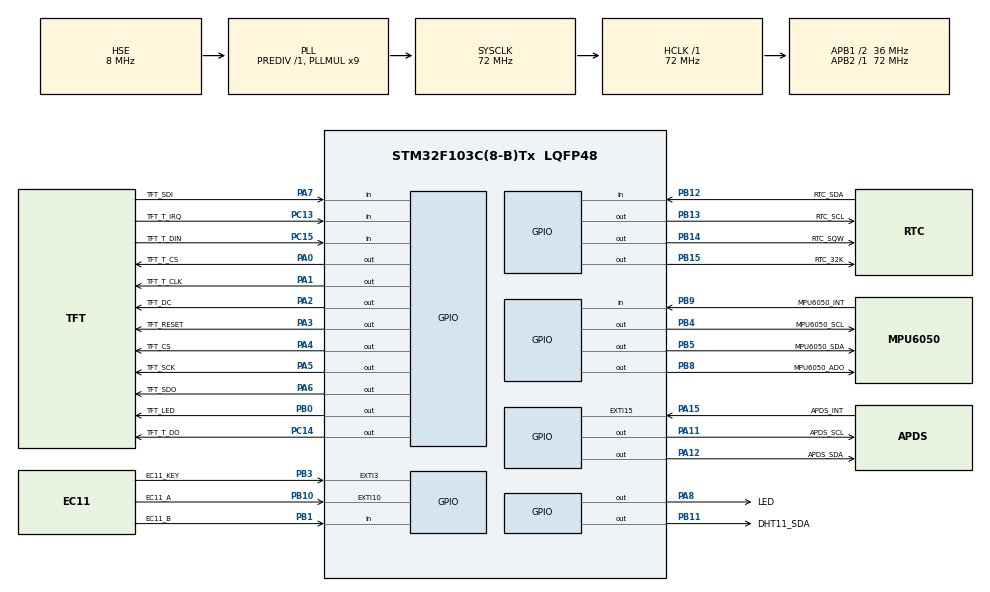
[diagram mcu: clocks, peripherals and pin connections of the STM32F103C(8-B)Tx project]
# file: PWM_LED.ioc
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FREERTOS.Tasks01=Task_Main,1,128,Task_Main_Start,As weak,NULL,Dynamic,NULL,NULL;LED_PWM_Task,-3,128,LED_PWM_Task_Start,As weak,NULL,Dynamic,NULL,NULL;LED_Flash_Task,-3,128,LED_Flash_Task_Start,As weak,NULL,Dynamic,NULL,NULL;RTC_GetTime,0,128,RTC_GetTime_Start,As weak,NULL,Dynamic,NULL,NULL;APDS_Trigger,0,128,APDS_GetData_Start,As weak,NULL,Dynamic,NULL,NULL;DHT11_GetData,0,128,DHT11_DetData_Start,As weak,NULL,Dynamic,NULL,NULL;MPU6050_Get,0,128,MPU6050_GetData_Start,As weak,NULL,Dynamic,NULL,NULL;TFT_Display,-3,1024,TFT_DisplayAndShow,As weak,NULL,Dynamic,NULL,NULL
FREERTOS.configTOTAL_HEAP_SIZE=10000
Mcu.Family=STM32F1
Mcu.Name=STM32F103C(8-B)Tx
Mcu.Package=LQFP48
NVIC.EXTI15_10_IRQn=true\:5\:0\:false\:false\:true\:true\:true\:true
NVIC.EXTI3_IRQn=true\:5\:0\:false\:false\:true\:true\:true\:true
NVIC.PriorityGroup=NVIC_PRIORITYGROUP_4
NVIC.TIM4_IRQn=true\:0\:0\:false\:false\:true\:false\:false\:true
NVIC.TimeBase=TIM4_IRQn
NVIC.TimeBaseIP=TIM4
PA0-WKUP.GPIO_Label=TFT_T_CS
PA0-WKUP.Signal=GPIO_Output
PA1.GPIO_Label=TFT_T_CLK
PA1.Signal=GPIO_Output
PA11.GPIO_Label=APDS_SCL
PA11.Signal=GPIO_Output
PA12.GPIO_Label=APDS_SDA
PA12.Signal=GPIO_Output
PA13.Mode=Serial_Wire
PA13.Signal=SYS_JTMS-SWDIO
PA14.Mode=Serial_Wire
PA14.Signal=SYS_JTCK-SWCLK
PA15.GPIO_Label=APDS_INT
PA15.GPIO_ModeDefaultEXTI=GPIO_MODE_IT_FALLING
PA15.GPIO_PuPd=GPIO_NOPULL
PA15.Signal=GPXTI15
PA2.GPIO_Label=TFT_DC
PA2.Signal=GPIO_Output
PA3.GPIO_Label=TFT_RESET
PA3.Signal=GPIO_Output
PA4.GPIO_Label=TFT_CS
PA4.Signal=GPIO_Output
PA5.GPIO_Label=TFT_SCK
PA5.Signal=GPIO_Output
PA6.GPIO_Label=TFT_SDO
PA6.Signal=GPIO_Output
PA7.GPIO_Label=TFT_SDI
PA7.Signal=GPIO_Input
PA8.GPIO_Label=LED
PA8.Signal=GPIO_Output
PB0.GPIO_Label=TFT_LED
PB0.PinState=GPIO_PIN_SET
PB0.Signal=GPIO_Output
PB1.GPIO_Label=EC11_B
PB1.Signal=GPIO_Input
PB10.GPIO_Label=EC11_A
PB10.GPIO_ModeDefaultEXTI=GPIO_MODE_IT_FALLING
PB10.Signal=GPXTI10
PB11.GPIO_Label=DHT11_SDA
PB11.Signal=GPIO_Output
PB12.GPIO_Label=RTC_SDA
PB12.Signal=GPIO_Input
PB13.GPIO_Label=RTC_SCL
PB13.Signal=GPIO_Output
PB14.GPIO_Label=RTC_SQW
PB14.Signal=GPIO_Output
PB15.GPIO_Label=RTC_32K
PB15.Signal=GPIO_Output
PB3.GPIO_Label=EC11_KEY
PB3.GPIO_ModeDefaultEXTI=GPIO_MODE_IT_FALLING
PB3.Signal=GPXTI3
PB4.GPIO_Label=MPU6050_SCL
PB4.Signal=GPIO_Output
PB5.GPIO_Label=MPU6050_SDA
PB5.Signal=GPIO_Output
PB8.GPIO_Label=MPU6050_ADO
PB8.Signal=GPIO_Output
PB9.GPIO_Label=MPU6050_INT
PB9.Signal=GPIO_Input
PC13-TAMPER-RTC.GPIO_Label=TFT_T_IRQ
PC13-TAMPER-RTC.Signal=GPIO_Input
PC14-OSC32_IN.GPIO_Label=TFT_T_DO
PC14-OSC32_IN.Signal=GPIO_Output
PC15-OSC32_OUT.GPIO_Label=TFT_T_DIN
PC15-OSC32_OUT.Signal=GPIO_Input
PD0-OSC_IN.Mode=HSE-External-Oscillator
PD0-OSC_IN.Signal=RCC_OSC_IN
PD1-OSC_OUT.Mode=HSE-External-Oscillator
PD1-OSC_OUT.Signal=RCC_OSC_OUT
ProjectManager.HeapSize=0x200
ProjectManager.StackSize=0x400
ProjectManager.TargetToolchain=MDK-ARM V5
RCC.AHBFreq_Value=72000000
RCC.APB1CLKDivider=RCC_HCLK_DIV2
RCC.APB1Freq_Value=36000000
RCC.APB1TimFreq_Value=72000000
RCC.APB2Freq_Value=72000000
RCC.APB2TimFreq_Value=72000000
RCC.HCLKFreq_Value=72000000
RCC.PLLMUL=RCC_PLL_MUL9
RCC.PLLSourceVirtual=RCC_PLLSOURCE_HSE
RCC.SYSCLKFreq_VALUE=72000000
RCC.SYSCLKSource=RCC_SYSCLKSOURCE_PLLCLK
RCC.USBFreq_Value=72000000
VP_FREERTOS_VS_CMSIS_V1.Mode=CMSIS_V1
VP_SYS_VS_tim4.Mode=TIM4
board=custom

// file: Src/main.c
/* USER CODE BEGIN Header */
/**
  ******************************************************************************
  * @file           : main.c
  * @brief          : Main program body
  ******************************************************************************
  * @attention
  *
  * <h2><center>&copy; Copyright (c) 2020 STMicroelectronics.
  * All rights reserved.</center></h2>
  *
  * This software component is licensed by ST under Ultimate Liberty license
  * SLA0044, the "License"; You may not use this file except in compliance with
  * the License. You may obtain a copy of the License at:
  *                             www.st.com/SLA0044
  *
  ******************************************************************************
  */
/* USER CODE END Header */

#include "main.h"
#include "cmsis_os.h"

/* USER CODE BEGIN Includes */
#include "math.h"
#include "list.h"
/* USER CODE END Includes */

/* USER CODE BEGIN PD */
uint8_t Count_PWM_Times = 0;
uint8_t Count_Flash_Times = 0;

/* USER CODE END PD */

osThreadId Task_MainHandle;
osThreadId LED_PWM_TaskHandle;
osThreadId LED_Flash_TaskHandle;
osThreadId RTC_GetTimeHandle;
osThreadId APDS_TriggerHandle;
osThreadId DHT11_GetDataHandle;
osThreadId MPU6050_GetHandle;
osThreadId TFT_DisplayHandle;
/* USER CODE BEGIN PV */
double brightNess ;
QueueHandle_t Test_Queue = NULL;

SemaphoreHandle_t BinarySemaphore_Handle = NULL;
struct xLIST List_Test ;        //创建链表的根节点

struct xLIST_ITEM List_Item1;   //创建链表的节
struct xLIST_ITEM List_Item2;   //创建链表的节
struct xLIST_ITEM List_Item3;   //创建链表的节

#define QUEUE_Len 		4
#define QUEUE_Size		4

uint8_t ID,MPU_State,DHT11_State ;

float pitch,roll,yaw;     //欧拉�?
short aacx,aacy,aacz;     //加�?�度传感器原始数�?
short gyrox,gyroy,gyroz;	//�?螺仪原始数据
short temp;               //温度

/* USER CODE END PV */

void SystemClock_Config(void);
static void MX_GPIO_Init(void);
void Task_Main_Start(void const * argument);
void LED_PWM_Task_Start(void const * argument);
void LED_Flash_Task_Start(void const * argument);
void RTC_GetTime_Start(void const * argument);
void APDS_GetData_Start(void const * argument);
void DHT11_DetData_Start(void const * argument);
void MPU6050_GetData_Start(void const * argument);
void TFT_DisplayAndShow(void const * argument);

int main(void)
{

  /* MCU Configuration--------------------------------------------------------*/

  /* Reset of all peripherals, Initializes the Flash interface and the Systick. */
  HAL_Init();

  /* Configure the system clock */
  SystemClock_Config();

  /* Initialize all configured peripherals */
  MX_GPIO_Init();
  /* USER CODE BEGIN 2 */
  ModifyTime(0x11,0x11,0x11,0x11,0x11,0x11);
  //链表根节点初始化
  vListInitialise( &List_Test );

	//链表初�??
  vListInitialiseItem( & List_Item1 );
  List_Item1.xItemValue = 1;

	vListInitialiseItem( & List_Item2 );
  List_Item2.xItemValue = 2;

	vListInitialiseItem( & List_Item3 );
  List_Item3.xItemValue = 3;

	vListInsert( &List_Test , &List_Item1 );
	vListInsert( &List_Test , &List_Item2 );
	vListInsert( &List_Test , &List_Item3 );

	Test_Queue = xQueueCreate((UBaseType_t)QUEUE_Len,
														(UBaseType_t)QUEUE_Size);

  ID = APDS9960_Get_ID() ;
    if(ID == 0xab)
    {
//      if (APDS9960_Init())
//      {
//        APDS9960_Gesture_EN(1);
//      }
    }
    //初始化MPU6050
//  while (MPU_Init()){ ; }

  temp = MPU_Get_Temperature();
  //等待初始化DMP单元
  //while(mpu_dmp_init())
 	//{
	//	;
	//}

  /* USER CODE END 2 */

  /* USER CODE BEGIN RTOS_SEMAPHORES */
  /* add semaphores, ... */
  BinarySemaphore_Handle = xSemaphoreCreateBinary();
  /* USER CODE END RTOS_SEMAPHORES */

  /* Create the thread(s) */
  /* definition and creation of Task_Main */
  osThreadDef(Task_Main, Task_Main_Start, osPriorityAboveNormal, 0, 128);
  Task_MainHandle = osThreadCreate(osThread(Task_Main), NULL);

  /* definition and creation of LED_PWM_Task */
  osThreadDef(LED_PWM_Task, LED_PWM_Task_Start, osPriorityIdle, 0, 128);
  LED_PWM_TaskHandle = osThreadCreate(osThread(LED_PWM_Task), NULL);

  /* definition and creation of LED_Flash_Task */
  osThreadDef(LED_Flash_Task, LED_Flash_Task_Start, osPriorityIdle, 0, 128);
  LED_Flash_TaskHandle = osThreadCreate(osThread(LED_Flash_Task), NULL);

  /* definition and creation of RTC_GetTime */
  osThreadDef(RTC_GetTime, RTC_GetTime_Start, osPriorityNormal, 0, 128);
  RTC_GetTimeHandle = osThreadCreate(osThread(RTC_GetTime), NULL);

  /* definition and creation of APDS_Trigger */
  osThreadDef(APDS_Trigger, APDS_GetData_Start, osPriorityNormal, 0, 128);
  APDS_TriggerHandle = osThreadCreate(osThread(APDS_Trigger), NULL);

  /* definition and creation of DHT11_GetData */
  osThreadDef(DHT11_GetData, DHT11_DetData_Start, osPriorityNormal, 0, 128);
  DHT11_GetDataHandle = osThreadCreate(osThread(DHT11_GetData), NULL);

  /* definition and creation of MPU6050_Get */
  osThreadDef(MPU6050_Get, MPU6050_GetData_Start, osPriorityNormal, 0, 128);
  MPU6050_GetHandle = osThreadCreate(osThread(MPU6050_Get), NULL);

  /* definition and creation of TFT_Display */
  osThreadDef(TFT_Display, TFT_DisplayAndShow, osPriorityIdle, 0, 1024);
  TFT_DisplayHandle = osThreadCreate(osThread(TFT_Display), NULL);

  /* Start scheduler */
  osKernelStart();

  /* We should never get here as control is now taken by the scheduler */

  /* Infinite loop */
  while (1)
  {

  }
}

void SystemClock_Config(void)
{
  RCC_OscInitTypeDef RCC_OscInitStruct = {0};
  RCC_ClkInitTypeDef RCC_ClkInitStruct = {0};

  /** Initializes the CPU, AHB and APB busses clocks
  */
  RCC_OscInitStruct.OscillatorType = RCC_OSCILLATORTYPE_HSE;
  RCC_OscInitStruct.HSEState = RCC_HSE_ON;
  RCC_OscInitStruct.HSEPredivValue = RCC_HSE_PREDIV_DIV1;
  RCC_OscInitStruct.HSIState = RCC_HSI_ON;
  RCC_OscInitStruct.PLL.PLLState = RCC_PLL_ON;
  RCC_OscInitStruct.PLL.PLLSource = RCC_PLLSOURCE_HSE;
  RCC_OscInitStruct.PLL.PLLMUL = RCC_PLL_MUL9;
  if (HAL_RCC_OscConfig(&RCC_OscInitStruct) != HAL_OK)
  {
    Error_Handler();
  }
  /** Initializes the CPU, AHB and APB busses clocks
  */
  RCC_ClkInitStruct.ClockType = RCC_CLOCKTYPE_HCLK|RCC_CLOCKTYPE_SYSCLK
                              |RCC_CLOCKTYPE_PCLK1|RCC_CLOCKTYPE_PCLK2;
  RCC_ClkInitStruct.SYSCLKSource = RCC_SYSCLKSOURCE_PLLCLK;
  RCC_ClkInitStruct.AHBCLKDivider = RCC_SYSCLK_DIV1;
  RCC_ClkInitStruct.APB1CLKDivider = RCC_HCLK_DIV2;
  RCC_ClkInitStruct.APB2CLKDivider = RCC_HCLK_DIV1;

  if (HAL_RCC_ClockConfig(&RCC_ClkInitStruct, FLASH_LATENCY_2) != HAL_OK)
  {
    Error_Handler();
  }
}

static void MX_GPIO_Init(void)
{
  GPIO_InitTypeDef GPIO_InitStruct = {0};

  /* GPIO Ports Clock Enable */
  __HAL_RCC_GPIOC_CLK_ENABLE();
  __HAL_RCC_GPIOD_CLK_ENABLE();
  __HAL_RCC_GPIOA_CLK_ENABLE();
  __HAL_RCC_GPIOB_CLK_ENABLE();

  /*Configure GPIO pin Output Level */
  HAL_GPIO_WritePin(TFT_T_DO_GPIO_Port, TFT_T_DO_Pin, GPIO_PIN_RESET);

  /*Configure GPIO pin Output Level */
  HAL_GPIO_WritePin(GPIOA, TFT_T_CS_Pin|TFT_T_CLK_Pin|TFT_DC_Pin|TFT_RESET_Pin
                          |TFT_CS_Pin|TFT_SCK_Pin|TFT_SDO_Pin|LED_Pin
                          |APDS_SCL_Pin|APDS_SDA_Pin, GPIO_PIN_RESET);

  /*Configure GPIO pin Output Level */
  HAL_GPIO_WritePin(TFT_LED_GPIO_Port, TFT_LED_Pin, GPIO_PIN_SET);

  /*Configure GPIO pin Output Level */
  HAL_GPIO_WritePin(GPIOB, DHT11_SDA_Pin|RTC_SCL_Pin|RTC_SQW_Pin|RTC_32K_Pin
                          |MPU6050_SCL_Pin|MPU6050_SDA_Pin|MPU6050_ADO_Pin, GPIO_PIN_RESET);

  /*Configure GPIO pins : TFT_T_IRQ_Pin TFT_T_DIN_Pin */
  GPIO_InitStruct.Pin = TFT_T_IRQ_Pin|TFT_T_DIN_Pin;
  GPIO_InitStruct.Mode = GPIO_MODE_INPUT;
  GPIO_InitStruct.Pull = GPIO_NOPULL;
  HAL_GPIO_Init(GPIOC, &GPIO_InitStruct);

  /*Configure GPIO pin : TFT_T_DO_Pin */
  GPIO_InitStruct.Pin = TFT_T_DO_Pin;
  GPIO_InitStruct.Mode = GPIO_MODE_OUTPUT_PP;
  GPIO_InitStruct.Pull = GPIO_NOPULL;
  GPIO_InitStruct.Speed = GPIO_SPEED_FREQ_LOW;
  HAL_GPIO_Init(TFT_T_DO_GPIO_Port, &GPIO_InitStruct);

  /*Configure GPIO pins : TFT_T_CS_Pin TFT_T_CLK_Pin TFT_DC_Pin TFT_RESET_Pin
                           TFT_CS_Pin TFT_SCK_Pin TFT_SDO_Pin LED_Pin
                           APDS_SCL_Pin APDS_SDA_Pin */
  GPIO_InitStruct.Pin = TFT_T_CS_Pin|TFT_T_CLK_Pin|TFT_DC_Pin|TFT_RESET_Pin
                          |TFT_CS_Pin|TFT_SCK_Pin|TFT_SDO_Pin|LED_Pin
                          |APDS_SCL_Pin|APDS_SDA_Pin;
  GPIO_InitStruct.Mode = GPIO_MODE_OUTPUT_PP;
  GPIO_InitStruct.Pull = GPIO_NOPULL;
  GPIO_InitStruct.Speed = GPIO_SPEED_FREQ_LOW;
  HAL_GPIO_Init(GPIOA, &GPIO_InitStruct);

  /*Configure GPIO pin : TFT_SDI_Pin */
  GPIO_InitStruct.Pin = TFT_SDI_Pin;
  GPIO_InitStruct.Mode = GPIO_MODE_INPUT;
  GPIO_InitStruct.Pull = GPIO_NOPULL;
  HAL_GPIO_Init(TFT_SDI_GPIO_Port, &GPIO_InitStruct);

  /*Configure GPIO pins : TFT_LED_Pin DHT11_SDA_Pin RTC_SCL_Pin RTC_SQW_Pin
                           RTC_32K_Pin MPU6050_SCL_Pin MPU6050_SDA_Pin MPU6050_ADO_Pin */
  GPIO_InitStruct.Pin = TFT_LED_Pin|DHT11_SDA_Pin|RTC_SCL_Pin|RTC_SQW_Pin
                          |RTC_32K_Pin|MPU6050_SCL_Pin|MPU6050_SDA_Pin|MPU6050_ADO_Pin;
  GPIO_InitStruct.Mode = GPIO_MODE_OUTPUT_PP;
  GPIO_InitStruct.Pull = GPIO_NOPULL;
  GPIO_InitStruct.Speed = GPIO_SPEED_FREQ_LOW;
  HAL_GPIO_Init(GPIOB, &GPIO_InitStruct);

  /*Configure GPIO pins : EC11_B_Pin RTC_SDA_Pin MPU6050_INT_Pin */
  GPIO_InitStruct.Pin = EC11_B_Pin|RTC_SDA_Pin|MPU6050_INT_Pin;
  GPIO_InitStruct.Mode = GPIO_MODE_INPUT;
  GPIO_InitStruct.Pull = GPIO_NOPULL;
  HAL_GPIO_Init(GPIOB, &GPIO_InitStruct);

  /*Configure GPIO pins : EC11_A_Pin EC11_KEY_Pin */
  GPIO_InitStruct.Pin = EC11_A_Pin|EC11_KEY_Pin;
  GPIO_InitStruct.Mode = GPIO_MODE_IT_FALLING;
  GPIO_InitStruct.Pull = GPIO_NOPULL;
  HAL_GPIO_Init(GPIOB, &GPIO_InitStruct);

  /*Configure GPIO pin : APDS_INT_Pin */
  GPIO_InitStruct.Pin = APDS_INT_Pin;
  GPIO_InitStruct.Mode = GPIO_MODE_IT_FALLING;
  GPIO_InitStruct.Pull = GPIO_NOPULL;
  HAL_GPIO_Init(APDS_INT_GPIO_Port, &GPIO_InitStruct);

  /* EXTI interrupt init*/
  HAL_NVIC_SetPriority(EXTI3_IRQn, 5, 0);
  HAL_NVIC_EnableIRQ(EXTI3_IRQn);

  HAL_NVIC_SetPriority(EXTI15_10_IRQn, 5, 0);
  HAL_NVIC_EnableIRQ(EXTI15_10_IRQn);

}

/* USER CODE BEGIN 4 */
static  char    EC11_A_Last = 0;                        //EC11的A引脚上一次的状�??
static  char    EC11_B_Last = 0;                        //EC11的B引脚上一次的状�??
uint8_t         EC11_A_Now  = 0;                        //EC11的A引脚这一次的状�??
uint8_t         EC11_B_Now  = 0;                        //EC11的B引脚这一次的状�??
uint8_t GPIO_State ,State,Temp_Data,i;
void HAL_GPIO_EXTI_Callback(uint16_t GPIO_Pin)
{
	static BaseType_t xHigherPriorityTaskWoken;
  /* Prevent unused argument(s) compilation warning */

  /* NOTE: This function Should not be modified, when the callback is needed,
           the HAL_GPIO_EXTI_Callback could be implemented in the user file
   */
	BaseType_t xReturn = pdPASS ;
  //APDS9960中断
  if(GPIO_Pin == APDS_INT_Pin)
  {
  if (APDS9960_Check_Gesture_State())
   {
		  xSemaphoreGiveFromISR( BinarySemaphore_Handle, &xHigherPriorityTaskWoken );
   }
  }
  //EC11中断
  if (GPIO_Pin ==  EC11_A_Pin)
  {
    EC11_A_Now = HAL_GPIO_ReadPin(EC11_A_GPIO_Port,EC11_A_Pin);

    if(EC11_A_Now == 0)
      {
        for(int i=0;i<750;i++); //延时消抖
        EC11_B_Now = HAL_GPIO_ReadPin(EC11_B_GPIO_Port,EC11_B_Pin);
        if(EC11_B_Now ==1)      //只需要采集A的上升沿或下降沿的任意一个状态，
          Temp_Data += 1;       //正转

        else                    //反转
          Temp_Data -= 1;
      }
      EC11_A_Last = EC11_A_Now;
      EC11_B_Last = EC11_B_Now;
    __HAL_GPIO_EXTI_CLEAR_IT(EC11_A_Pin);
  }

  /* 如果 xHigherPriorityTaskWoken 表达式为 true ,要执行一次上下文切换*/
  	portYIELD_FROM_ISR( xHigherPriorityTaskWoken );

}

/* USER CODE END 4 */

__weak void Task_Main_Start(void const * argument)
{
  /* USER CODE BEGIN 5 */
  /* Infinite loop */
  for(;;)
  {
    for (uint8_t i = 0; i < 100; i++)
    {
      osDelay(20);

      brightNess = sin(i * (3.14159265 / 100) );
    }
    osDelay(1);
  }
  /* USER CODE END 5 */
}

__weak void LED_PWM_Task_Start(void const * argument)
{
  /* USER CODE BEGIN LED_PWM_Task_Start */
  /* Infinite loop */
	BaseType_t xReturn = pdTRUE;
	uint32_t T_Queue = 1;
  for(;;)
  {
    vTaskSuspend( LED_Flash_TaskHandle );
    HAL_GPIO_WritePin(LED_GPIO_Port,LED_Pin,GPIO_PIN_RESET);
    osDelay(brightNess * 20);
    HAL_GPIO_WritePin(LED_GPIO_Port,LED_Pin,GPIO_PIN_SET);
    osDelay(20 - brightNess * 20);
		Count_PWM_Times ++ ;
		if(Count_PWM_Times == 150)
		{
			Count_Flash_Times = 1 ;
			xReturn = xQueueSend(Test_Queue,&T_Queue,0);
      vTaskResume( LED_Flash_TaskHandle );
		}
		if(Count_PWM_Times == 255){
				Count_PWM_Times = 0;
		}
  }
  /* USER CODE END LED_PWM_Task_Start */
}

__weak void LED_Flash_Task_Start(void const * argument)
{
  /* USER CODE BEGIN LED_Flash_Task_Start */
  /* Infinite loop */
	BaseType_t xReturn = pdTRUE;
	uint32_t R_Queue;
  for(;;)
  {
    vTaskSuspend(LED_PWM_TaskHandle);
		HAL_GPIO_WritePin(LED_GPIO_Port,LED_Pin,GPIO_PIN_RESET);
    osDelay(1000);
    HAL_GPIO_WritePin(LED_GPIO_Port,LED_Pin,GPIO_PIN_SET);
    osDelay(1000);
    if(Count_Flash_Times >= 1){
			Count_Flash_Times ++;
			if(Count_Flash_Times == 5){
				xReturn = xQueueReceive(Test_Queue,&R_Queue,portMAX_DELAY);
				if(pdTRUE == xReturn && R_Queue == 1){
					vTaskResume(LED_PWM_TaskHandle);
				}
			}
		}
  }
  /* USER CODE END LED_Flash_Task_Start */
}

__weak void RTC_GetTime_Start(void const * argument)
{
  /* USER CODE BEGIN RTC_GetTime_Start */
  // uint8_t hour,sec,min ;
  /* Infinite loop */
  for(;;)
  {

    //hour  =  DS3231_ReadDate.Hour   ;
    //min   =  DS3231_ReadDate.Minutes;
    //sec   =  DS3231_ReadDate.Seconds;
    //Read_RTC();
    vTaskSuspend(LED_PWM_TaskHandle);
    //vTaskSuspend(LED_Flash_TaskHandle);
    vTaskSuspend(DHT11_GetDataHandle);
    vTaskSuspend(RTC_GetTimeHandle);
    osDelay(1);
  }
  /* USER CODE END RTC_GetTime_Start */
}

__weak void APDS_GetData_Start(void const * argument)
{
  /* USER CODE BEGIN APDS_GetData_Start */
  /* Infinite loop */

  uint8_t ID,Dir,State,PIN_Set,Count_APDS_Run  ;
  for(;;)
  {
    Count_APDS_Run ++;
    if (Count_APDS_Run == 200)
    {
      Count_APDS_Run = 0;
    }
		//获取二值信号量
		State = xSemaphoreTake(BinarySemaphore_Handle , 10);
		PIN_Set = HAL_GPIO_ReadPin(APDS_INT_GPIO_Port,APDS_INT_Pin);
    if(ID == 0xab && State)
    {
			APDS9960_Gesture_Get_State();//采用二值信号量

      if( !PIN_Set )
        {
            decodeGesture();
            GPIO_State = 0;
            PIN_Set = 1;
            if (gesture_motion > 0)
            {
                switch (gesture_motion)
                {
                    case DIR_UP:
                        Dir = 0;
                        break;
                    case DIR_DOWN:
                        Dir = 1;
                        break;
                    case DIR_LEFT:
                        Dir = 2;
                        break;
                    case DIR_RIGHT:
                        Dir = 3;
                        break;
                    case DIR_NEAR:
                        Dir = 4;
                        break;
                    case DIR_FAR:
                        Dir = 5;
                        break;
                    default:
                        Dir = State;
                        break;
                }
            }
            resetGestureParameters();
        }
    }
		else if(!State)
    {
      //如果中断没有测到

    }
    else
    {

      //vTaskSuspend(APDS_TriggerHandle);
    }
      osDelay(1);
  }
  /* USER CODE END APDS_GetData_Start */
}

__weak void DHT11_DetData_Start(void const * argument)
{
  /* USER CODE BEGIN DHT11_DetData_Start */
  /* Infinite loop */
  for(;;)
  {
    DHT11_State = DHT11_Init();
    //如果DHT11没有 测到则自挂东南枝
    if (DHT11_State)
    {
      vTaskSuspend(DHT11_GetDataHandle);
    }

    osDelay(1);
  }
  /* USER CODE END DHT11_DetData_Start */
}

__weak void MPU6050_GetData_Start(void const * argument)
{
  /* USER CODE BEGIN MPU6050_GetData_Start */
  /* Infinite loop */
  for(;;)
  {

			temp = MPU_Get_Temperature();	//得到温度
			MPU_Get_Accelerometer(&aacx,&aacy,&aacz);	//得到加速度传感器数据
			MPU_Get_Gyroscope(&gyrox,&gyroy,&gyroz);	//得到陀螺仪数据

    osDelay(1);
  }
  /* USER CODE END MPU6050_GetData_Start */
}

__weak void TFT_DisplayAndShow(void const * argument)
{
  for(;;)
  {
    osDelay(1);
  }
}

void HAL_TIM_PeriodElapsedCallback(TIM_HandleTypeDef *htim)
{
  if (htim->Instance == TIM4) {
    HAL_IncTick();
  }
}

void Error_Handler(void)
{
}

/************************ (C) COPYRIGHT STMicroelectronics *****END OF FILE****/
